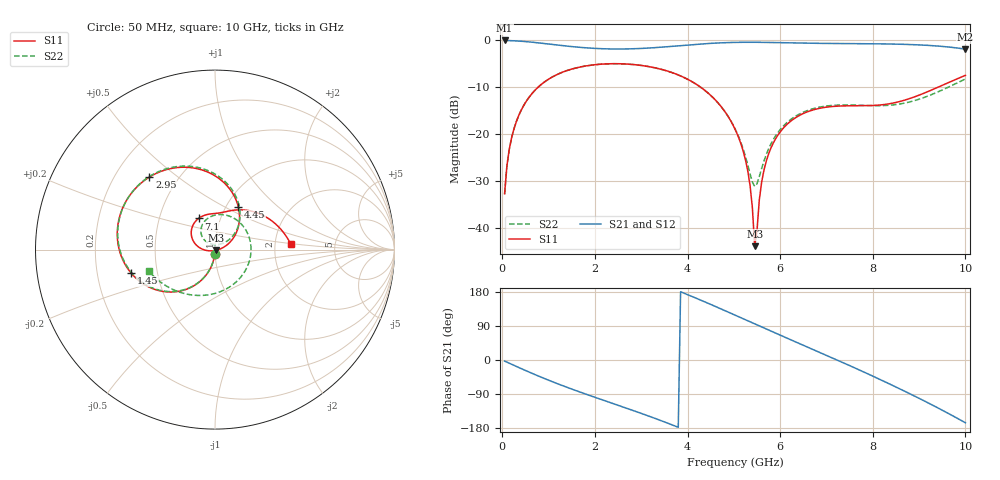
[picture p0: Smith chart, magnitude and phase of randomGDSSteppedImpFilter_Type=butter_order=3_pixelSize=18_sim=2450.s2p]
! freq	dB(S11)	phase(S11)	dB(S12)	phase(S12)
!  dB(S21)	phase(S21)	dB(S22)	phase(S22)
!S-par simulation data
#  GHz  S  DB  R 50
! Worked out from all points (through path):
!   200 points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, 50 MHz to 10 GHz, reference 50 ohm
!   highest |S21| = -0.01 dB at 50 MHz (marker M1); lowest = -1.9 dB at 10 GHz (marker M2)
!   group delay of S21, straight-line fit = 143 ps
!   lowest |S11| = -44.0 dB at 5.45 GHz (marker M3), VSWR 1.01, Z = 50.5 - j0.449 ohm
!   |S11| at or under -10 dB: start of sweep to 772.7 MHz; 4.284 GHz to 9.408 GHz (5.124 GHz wide, 74.8 % of centre)
!   |S22| runs from -32.8 to -5.0 dB; largest |S21 - S12| = 0
!   S11 on the Smith chart (normalised r, x): 50 MHz: 1.00, -0.05; 1.45 GHz: 0.35, -0.12; 2.95 GHz: 0.35, +0.40; 4.45 GHz: 1.14, +0.59; 7.1 GHz: 0.79, +0.28; 10 GHz: 2.46, +0.17
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0.05  -32.77 -92.9  -0.01 -2.8  -0.01 -2.8  -32.78 -92.9
0.1  -26.78 -95.9  -0.02 -5.7  -0.02 -5.7  -26.78 -96.0
0.2  -20.85 -101.6  -0.05 -11.2  -0.05 -11.2  -20.85 -101.8
0.45  -14.12 -115.3  -0.21 -25.0  -0.21 -25.0  -14.12 -115.6
1.45  -6.27 -164.6  -1.27 -74.5  -1.27 -74.5  -6.27 -165.5
1.75  -5.55 -177.7  -1.54 -87.7  -1.54 -87.7  -5.55 -178.9
2.95  -5.28 132.1  -1.74 -138.7  -1.74 -138.7  -5.28 130.0
3.4  -6.09 112.4  -1.47 -158.7  -1.47 -158.7  -6.10 110.1
4.45  -11.29 61.6  -0.66 149.4  -0.66 149.4  -11.31 60.0
5.05  -19.48 29.2  -0.42 117.1  -0.42 117.1  -19.37 35.9
5.3  -27.83 12.1  -0.39 103.5  -0.39 103.5  -26.57 42.9
5.4  -35.71 -3.8  -0.39 98.0  -0.39 98.0  -30.27 65.7
5.45  -43.96 -44.6  -0.39 95.3  -0.39 95.3  -31.16 85.7
5.6  -30.30 -166.9  -0.41 87.2  -0.41 87.2  -27.38 129.6
5.8  -23.01 177.9  -0.44 76.4  -0.44 76.4  -22.13 137.8
6.15  -17.91 159.4  -0.51 57.6  -0.51 57.6  -17.52 126.2
6.7  -14.88 134.1  -0.61 28.4  -0.61 28.4  -14.61 96.6
7.1  -14.14 117.8  -0.65 7.0  -0.65 7.0  -13.91 71.7
7.7  -13.97 97.1  -0.69 -25.8  -0.69 -25.8  -13.85 29.1
8.35  -13.54 79.5  -0.76 -62.5  -0.76 -62.5  -13.86 -24.9
9.15  -11.10 52.0  -1.03 -110.3  -1.03 -110.3  -12.04 -94.9
10  -7.46 3.9  -1.87 -165.7  -1.87 -165.7  -8.23 -162.0
